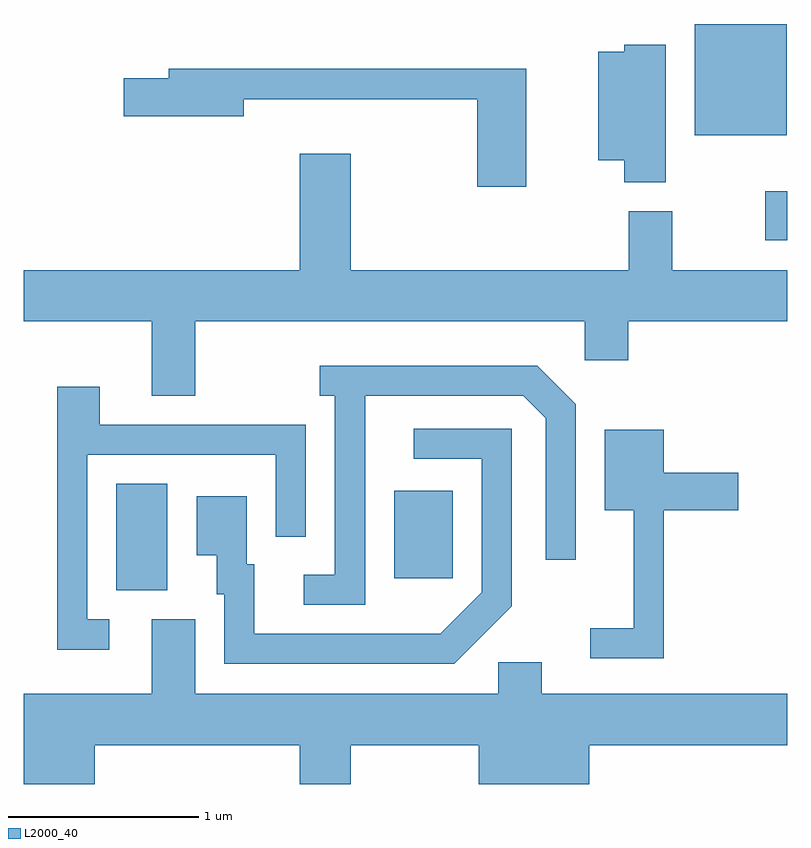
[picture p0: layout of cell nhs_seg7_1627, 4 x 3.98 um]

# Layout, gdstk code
import gdstk
lib = gdstk.Library(unit=1e-6, precision=1e-09)
def R(c, l, rs):  # rectangles x0, y0, x1, y1
    for r in rs: c.add(gdstk.rectangle(r[:2], r[2:], *l))
def P(c, l, *ps):  # polygons
    for p in ps: c.add(gdstk.Polygon(p, *l))
L2000_40 = (2000, 40)

nhs_seg7_1627 = lib.new_cell('nhs_seg7_1627')
R(nhs_seg7_1627, L2000_40, [(234.096,1797.266,234.364,1797.824), (235.551,1797.331,235.859,1797.789), (237.496,1799.101,237.611,1799.359), (237.126,1799.651,237.609,1800.234)])
P(nhs_seg7_1627, L2000_40, [(236.974,1800.124),(236.756,1800.124),(236.756,1800.089),(236.621,1800.089),(236.621,1799.521),(236.756,1799.521),(236.756,1799.406),(236.974,1799.406)],
  [(236.244,1799.999),(234.371,1799.999),(234.371,1799.949),(234.136,1799.949),(234.136,1799.751),(234.764,1799.751),(234.764,1799.841),(235.986,1799.841),(235.986,1799.381),(236.244,1799.381)],
  [(234.509,1798.676),(236.551,1798.676),(236.551,1798.471),(236.779,1798.471),(236.779,1798.676),(237.611,1798.676),(237.611,1798.944),(237.009,1798.944),(237.009,1799.254),(236.781,1799.254),(236.781,1798.944),(235.324,1798.944),(235.324,1799.554),(235.056,1799.554),(235.056,1798.944),(233.611,1798.944),(233.611,1798.676),(234.281,1798.676),(234.281,1798.286),(234.509,1798.286)],
  [(235.399,1798.286),(236.229,1798.286),(236.346,1798.169),(236.346,1797.428),(236.504,1797.428),(236.504,1798.242),(236.302,1798.444),(235.163,1798.444),(235.163,1798.286),(235.241,1798.286),(235.241,1797.349),(235.078,1797.349),(235.078,1797.191),(235.399,1797.191)],
  [(234.058,1797.114),(233.944,1797.114),(233.944,1797.976),(234.931,1797.976),(234.931,1797.548),(235.089,1797.548),(235.089,1798.134),(234.009,1798.134),(234.009,1798.334),(233.786,1798.334),(233.786,1796.956),(234.058,1796.956)],
  [(236.169,1797.184),(236.169,1798.114),(235.653,1798.114),(235.653,1797.956),(236.011,1797.956),(236.011,1797.257),(235.794,1797.039),(234.819,1797.039),(234.819,1797.404),(234.779,1797.404),(234.779,1797.759),(234.516,1797.759),(234.516,1797.451),(234.621,1797.451),(234.621,1797.246),(234.661,1797.246),(234.661,1796.881),(235.867,1796.881)],
  [(236.964,1797.686),(237.354,1797.686),(237.354,1797.884),(236.964,1797.884),(236.964,1798.109),(236.656,1798.109),(236.656,1797.686),(236.806,1797.686),(236.806,1797.069),(236.578,1797.069),(236.578,1796.911),(236.964,1796.911)],
  [(233.611,1796.252),(233.984,1796.252),(233.984,1796.456),(235.056,1796.456),(235.056,1796.252),(235.324,1796.252),(235.324,1796.456),(235.996,1796.456),(235.996,1796.252),(236.574,1796.252),(236.574,1796.456),(237.611,1796.456),(237.611,1796.724),(236.324,1796.724),(236.324,1796.889),(236.096,1796.889),(236.096,1796.724),(234.509,1796.724),(234.509,1797.114),(234.281,1797.114),(234.281,1796.724),(233.611,1796.724)])

lib.write_gds('nhs_seg7_1627.gds')
